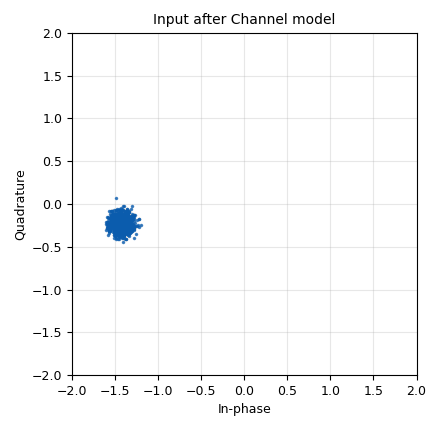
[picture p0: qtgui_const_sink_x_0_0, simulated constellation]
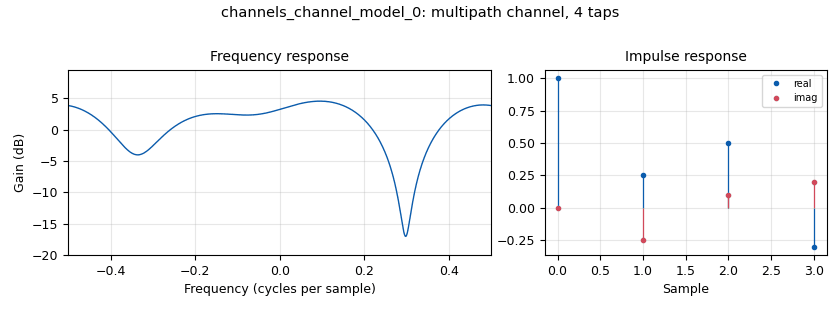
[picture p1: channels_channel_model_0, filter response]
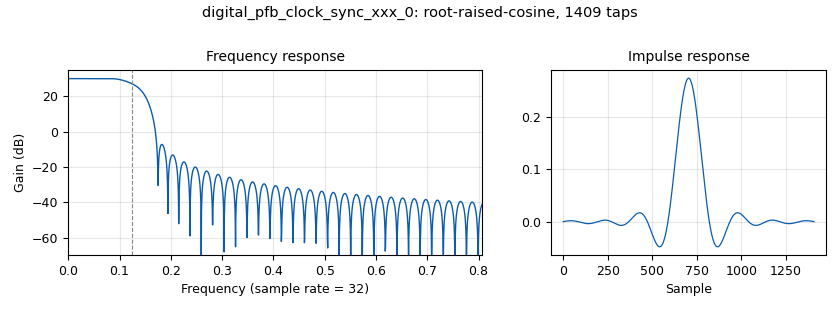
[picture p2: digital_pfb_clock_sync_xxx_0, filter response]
options:
  parameters:
    author: moazzam
    generate_options: qt_gui
    id: test
    output_language: python
    title: Not titled yet
  states: {}

blocks:
- name: f_c
  id: variable
  parameters:
    value: int(820*1e6)
  states: {}
- name: nfilts
  id: variable
  parameters:
    value: '32'
  states: {}
- name: pluto_context
  id: variable
  parameters:
    value: '"ip:192.168.2.1"'
  states: {}
- name: samp_rate
  id: variable
  parameters:
    value: 32000*4
  states: {}
- name: sps
  id: variable
  parameters:
    value: '4'
  states: {}
- name: taps
  id: variable
  parameters:
    value: '[1.0, 0.25-0.25j, 0.50 + 0.10j, -0.3 + 0.2j]'
  states: {}
- name: variable_adaptive_algorithm_0
  id: variable_adaptive_algorithm
  parameters:
    cons: variable_constellation_1
    modulus: '2'
    step_size: '.0001'
    type: cma
  states: {}
- name: variable_constellation_1
  id: variable_constellation
  parameters:
    const_points: '[1, -1]'
    precision: '8'
    sym_map: '[0,1]'
    type: bpsk
  states: {}
- name: blocks_file_sink_0_0_0
  id: blocks_file_sink
  parameters:
    file: C:\Users\mzeml\gnuradio\Moazzam_QPSK_65_out.txt
    type: byte
  states: {}
- name: blocks_repack_bits_bb_0_0_0
  id: blocks_repack_bits_bb
  parameters:
    comment: Tagged Stream to PDU block up ahead needs packed bytes
    endianness: gr.GR_MSB_FIRST
    k: '1'
    l: '8'
    len_tag_key: '"packet_len"'
  states: {}
- name: blocks_repeat_0
  id: blocks_repeat
  parameters:
    interp: samp_rate
    type: byte
  states: {}
- name: blocks_unpack_k_bits_bb_0_0_0
  id: blocks_unpack_k_bits_bb
  parameters:
    k: '1'
  states: {}
- name: blocks_vector_source_x_0_1
  id: blocks_vector_source_x
  parameters:
    repeat: 'True'
    type: byte
    vector: '[0,1,2,3]'
  states: {}
- name: channels_channel_model_0
  id: channels_channel_model
  parameters:
    epsilon: '1'
    freq_offset: 1*20*0.000000005
    noise_voltage: 1*1000*0.000100
    seed: '0'
    taps: taps
  states: {}
- name: digital_constellation_decoder_cb_1_0
  id: digital_constellation_decoder_cb
  parameters:
    constellation: variable_constellation_1
  states: {}
- name: digital_constellation_modulator_0_0
  id: digital_constellation_modulator
  parameters:
    constellation: variable_constellation_1
    differential: 'False'
    excess_bw: '0.35'
    samples_per_symbol: '4'
  states: {}
- name: digital_costas_loop_cc_2_0
  id: digital_costas_loop_cc
  parameters:
    order: '2'
    use_snr: 'True'
    w: '0.0628'
  states: {}
- name: digital_linear_equalizer_0
  id: digital_linear_equalizer
  parameters:
    adapt_after_training: '1'
    alg: variable_adaptive_algorithm_0
    num_taps: '15'
    sps: '1'
    training_sequence: '[]'
    training_start_tag: ''
  states: {}
- name: digital_pfb_clock_sync_xxx_0
  id: digital_pfb_clock_sync_xxx
  parameters:
    filter_size: '32'
    init_phase: '16'
    loop_bw: '0.0628'
    max_dev: '1.5'
    osps: '1'
    sps: '4'
    taps: firdes.root_raised_cosine(nfilts, nfilts, 1.0/float(sps), 0.35, 11*sps*nfilts)
    type: ccf
  states: {}
- name: hdr_format
  id: parameter
  parameters:
    label: Header Formatter
    value: digital.header_format_default(digital.packet_utils.default_access_code, 0)
  states: {}
- name: iio_pluto_sink_0
  id: iio_pluto_sink
  parameters:
    attenuation1: '10.0'
    bandwidth: '20000000'
    buffer_size: '32768'
    cyclic: 'False'
    filter_source: '''Auto'''
    frequency: f_c
    samplerate: samp_rate
    type: fc32
    uri: pluto_context
  states: {}
- name: iio_pluto_source_0
  id: iio_pluto_source
  parameters:
    bandwidth: '20000000'
    bbdc: 'True'
    buffer_size: '32768'
    filter_source: '''Auto'''
    frequency: f_c
    gain1: '''slow_attack'''
    quadrature: 'True'
    rfdc: 'True'
    samplerate: samp_rate
    type: fc32
    uri: pluto_context
  states: {}
- name: qtgui_const_sink_x_0
  id: qtgui_const_sink_x
  parameters:
    size: '1024'
    type: complex
  states: {}
- name: qtgui_const_sink_x_0_0
  id: qtgui_const_sink_x
  parameters:
    name: '"Input after Channel model"'
    size: '1024'
    type: complex
  states: {}

connections:
- [blocks_repack_bits_bb_0_0_0, '0', blocks_file_sink_0_0_0, '0']
- [blocks_repeat_0, '0', digital_constellation_modulator_0_0, '0']
- [blocks_unpack_k_bits_bb_0_0_0, '0', blocks_repack_bits_bb_0_0_0, '0']
- [blocks_vector_source_x_0_1, '0', blocks_repeat_0, '0']
- [channels_channel_model_0, '0', qtgui_const_sink_x_0_0, '0']
- [digital_constellation_decoder_cb_1_0, '0', blocks_unpack_k_bits_bb_0_0_0, '0']
- [digital_constellation_modulator_0_0, '0', channels_channel_model_0, '0']
- [digital_constellation_modulator_0_0, '0', iio_pluto_sink_0, '0']
- [digital_costas_loop_cc_2_0, '0', digital_linear_equalizer_0, '0']
- [digital_linear_equalizer_0, '0', digital_constellation_decoder_cb_1_0, '0']
- [digital_linear_equalizer_0, '0', qtgui_const_sink_x_0, '0']
- [digital_pfb_clock_sync_xxx_0, '0', digital_costas_loop_cc_2_0, '0']
- [iio_pluto_source_0, '0', digital_pfb_clock_sync_xxx_0, '0']

metadata:
  file_format: 1
  grc_version: 3.10.10.0
